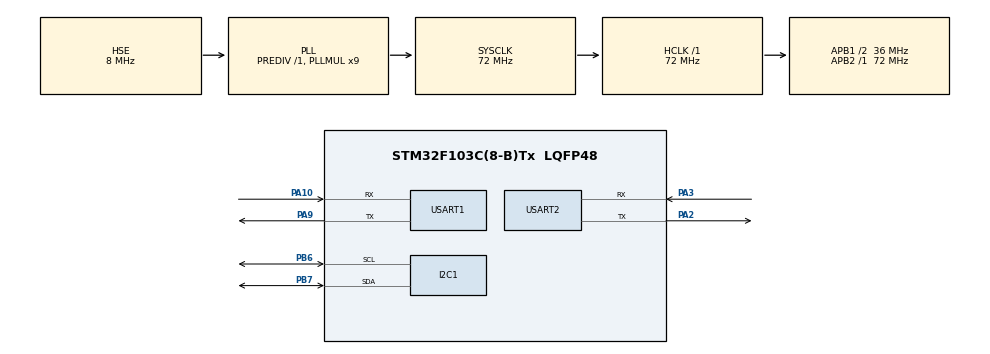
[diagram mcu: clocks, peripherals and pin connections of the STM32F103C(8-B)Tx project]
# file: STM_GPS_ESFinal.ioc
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Mcu.Family=STM32F1
Mcu.Name=STM32F103C(8-B)Tx
Mcu.Package=LQFP48
NVIC.PVD_IRQn=true\:0\:0\:false\:false\:true\:true\:true\:true
NVIC.PriorityGroup=NVIC_PRIORITYGROUP_4
NVIC.USART1_IRQn=true\:0\:0\:true\:false\:true\:true\:true\:true
PA10.Mode=Asynchronous
PA10.Signal=USART1_RX
PA13.Mode=Serial_Wire
PA13.Signal=SYS_JTMS-SWDIO
PA14.Mode=Serial_Wire
PA14.Signal=SYS_JTCK-SWCLK
PA2.Mode=Asynchronous
PA2.Signal=USART2_TX
PA3.Mode=Asynchronous
PA3.Signal=USART2_RX
PA9.Mode=Asynchronous
PA9.Signal=USART1_TX
PB6.Mode=I2C
PB6.Signal=I2C1_SCL
PB7.Mode=I2C
PB7.Signal=I2C1_SDA
PD0-OSC_IN.Mode=HSE-External-Oscillator
PD0-OSC_IN.Signal=RCC_OSC_IN
PD1-OSC_OUT.Mode=HSE-External-Oscillator
PD1-OSC_OUT.Signal=RCC_OSC_OUT
ProjectManager.HeapSize=0x200
ProjectManager.StackSize=0x400
ProjectManager.TargetToolchain=STM32CubeIDE
RCC.AHBFreq_Value=72000000
RCC.APB1CLKDivider=RCC_HCLK_DIV2
RCC.APB1Freq_Value=36000000
RCC.APB1TimFreq_Value=72000000
RCC.APB2Freq_Value=72000000
RCC.APB2TimFreq_Value=72000000
RCC.HCLKFreq_Value=72000000
RCC.PLLMUL=RCC_PLL_MUL9
RCC.PLLSourceVirtual=RCC_PLLSOURCE_HSE
RCC.SYSCLKFreq_VALUE=72000000
RCC.SYSCLKSource=RCC_SYSCLKSOURCE_PLLCLK
RCC.USBFreq_Value=72000000
USART1.VirtualMode=VM_ASYNC
USART2.VirtualMode=VM_ASYNC
board=custom

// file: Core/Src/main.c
/* USER CODE BEGIN Header */
/**
  ******************************************************************************
  * @file           : main.c
  * @brief          : Main program body
  ******************************************************************************
  * @attention
  *
  * Copyright (c) 2024 STMicroelectronics.
  * All rights reserved.
  *
  * This software is licensed under terms that can be found in the LICENSE file
  * in the root directory of this software component.
  * If no LICENSE file comes with this software, it is provided AS-IS.
  *
  ******************************************************************************
  */
/* USER CODE END Header */
#include "main.h"

/* USER CODE BEGIN Includes */
#include "uartRingBuffer.h"
#include "NMEA.h"
#include "i2c-lcd.h"
#include "stdio.h"
#include "string.h"
/* USER CODE END Includes */

I2C_HandleTypeDef hi2c1;

UART_HandleTypeDef huart1;
UART_HandleTypeDef huart2;

/* USER CODE BEGIN PV */
char latitude[12] = {0};
char longitude[12]= {0};
char GPShour[6] = {0};
char GPSmin[6] = {0};
//char GPSmin[3] = {0};
//char GPSmonth[3] = {0};
//char GPSdate[8]  ;
//char* messages[60] = {latitude, longitude};
//int numMessages = sizeof(messages) / sizeof(messages[0]);
char buffer[60] = {0};
float flat = 0.0;
float flon = 0.0;
char rx[50];
/* USER CODE END PV */

void SystemClock_Config(void);
static void MX_GPIO_Init(void);
static void MX_USART1_UART_Init(void);
static void MX_I2C1_Init(void);
static void MX_USART2_UART_Init(void);

/* USER CODE BEGIN 0 */

char GGA[100];
char RMC[100];

GPSSTRUCT gpsData;
int flagGGA = 0, flagRMC = 0;
char lcdBuffer [50];

int VCCTimeout = 5000; //

/* USER CODE END 0 */

int main(void)
{

  /* MCU Configuration--------------------------------------------------------*/

  /* Reset of all peripherals, Initializes the Flash interface and the Systick. */
  HAL_Init();

  /* Configure the system clock */
  SystemClock_Config();

  /* Initialize all configured peripherals */
  MX_GPIO_Init();
  MX_USART1_UART_Init();
  MX_I2C1_Init();
  MX_USART2_UART_Init();
  /* USER CODE BEGIN 2 */
  lcd_init();
  Ringbuf_init();
  HAL_Delay(500);
  /* USER CODE END 2 */

  /* Infinite loop */
  while (1)
  {

    /* USER CODE BEGIN 3 */

	  if (Wait_for("GGA") == 1)
	  {

		  VCCTimeout = 5000;  // Reset the VCC Timeout indicating the GGA is being received

		  Copy_upto("*", GGA);
		  if (decodeGGA(GGA, &gpsData.ggastruct) == 0) flagGGA = 2;  // 2 indicates the data is valid
		  else flagGGA = 1;  // 1 indicates the data is invalid

	  }

	  if (Wait_for("RMC") == 1)
	  {

		  VCCTimeout = 5000;  // Reset the VCC Timeout indicating the RMC is being received

		  Copy_upto("*", RMC);
		  if (decodeRMC(RMC, &gpsData.rmcstruct) == 0) flagRMC = 2;  // 2 indicates the data is valid
		  else flagRMC = 1;  // 1 indicates the data is invalid

	  }

	  if ((flagGGA == 2) | (flagRMC == 2))
	  {
		  lcd_put_cur(0, 0);
		  sprintf (lcdBuffer, "%.2f%c, %.2f%c  ", gpsData.ggastruct.lcation.latitude, gpsData.ggastruct.lcation.NS,\
		  				  gpsData.ggastruct.lcation.longitude, gpsData.ggastruct.lcation.EW);
		  lcd_send_string(lcdBuffer);

		  memset(lcdBuffer, '\0', 50);
		  lcd_put_cur(1, 0);
		  sprintf (lcdBuffer, "%02d:%02d:%02d, %02d%02d%02d", gpsData.ggastruct.tim.hour, \
		  				  gpsData.ggastruct.tim.min, gpsData.ggastruct.tim.sec, gpsData.rmcstruct.date.Day, \
		  				  gpsData.rmcstruct.date.Mon, gpsData.rmcstruct.date.Yr);
		  lcd_send_string(lcdBuffer);
	  }

	  else if ((flagGGA == 1) | (flagRMC == 1))
	  {
		  // Instead of clearing the display, it's better if we print spaces.
		  // This will avoid the "refreshing" part
		  lcd_put_cur(0, 0);
		  lcd_send_string("   NO FIX YET   ");
		  lcd_put_cur(1, 0);
		  lcd_send_string("   Please wait  ");
	  }

	  if (VCCTimeout <= 0)
	  {
		  VCCTimeout = 5000;  // Reset the timeout

		  //reset flags
		  flagGGA =flagRMC =0;

		  // You are here means the VCC is less, or maybe there is some connection issue
		  // Check the VCC, also you can try connecting to the external 5V

		  lcd_put_cur(0, 0);
		  lcd_send_string("    VCC Issue   ");
		  lcd_put_cur(1, 0);
		  lcd_send_string("Check Connection");
	  }

 // 	 uart stm32 and esp32
//	  	sprintf(latitude,"%f",gpsData.ggastruct.lcation.latitude);
//	  	sprintf(longitude,"%f",gpsData.ggastruct.lcation.longitude);
//	  	printf("\n");
//
//
//	  	strcpy(buffer, "");  // Clear buffer
//		for (int i = 0; i < numMessages; i++) {
//			strcat(buffer, messages[i]);  // Concatenate current message
//			if (i < numMessages - 1) {
//				strcat(buffer, " ");  // Add space between words, if not the last word
//			}
//		}
//		HAL_UART_Transmit(&huart1, (char*)buffer, sizeof(buffer), 1000);  // Transmit the concatenated string
//
	  	  char flat_str[20];
	  	  char flon_str[20];
	  	  sprintf(flat_str, "%f", gpsData.ggastruct.lcation.latitude);
	  	  sprintf(flon_str, "%f", gpsData.ggastruct.lcation.longitude);
	  	  strcpy(rx, flat_str);
	  	  strcat(rx, " ");
	  	  strcat(rx, flon_str);
	  	  HAL_UART_Transmit(&huart2, (uint8_t*)rx, strlen(rx), 1000);
	  	  //cnt++;
	  	  //HAL_Delay(1500);
	  	//HAL_UART_Receive_IT(&huart1, buffer, 60);

  }
  /* USER CODE END 3 */
}

void SystemClock_Config(void)
{
  RCC_OscInitTypeDef RCC_OscInitStruct = {0};
  RCC_ClkInitTypeDef RCC_ClkInitStruct = {0};

  /** Initializes the RCC Oscillators according to the specified parameters
  * in the RCC_OscInitTypeDef structure.
  */
  RCC_OscInitStruct.OscillatorType = RCC_OSCILLATORTYPE_HSE;
  RCC_OscInitStruct.HSEState = RCC_HSE_ON;
  RCC_OscInitStruct.HSEPredivValue = RCC_HSE_PREDIV_DIV1;
  RCC_OscInitStruct.HSIState = RCC_HSI_ON;
  RCC_OscInitStruct.PLL.PLLState = RCC_PLL_ON;
  RCC_OscInitStruct.PLL.PLLSource = RCC_PLLSOURCE_HSE;
  RCC_OscInitStruct.PLL.PLLMUL = RCC_PLL_MUL9;
  if (HAL_RCC_OscConfig(&RCC_OscInitStruct) != HAL_OK)
  {
    Error_Handler();
  }

  /** Initializes the CPU, AHB and APB buses clocks
  */
  RCC_ClkInitStruct.ClockType = RCC_CLOCKTYPE_HCLK|RCC_CLOCKTYPE_SYSCLK
                              |RCC_CLOCKTYPE_PCLK1|RCC_CLOCKTYPE_PCLK2;
  RCC_ClkInitStruct.SYSCLKSource = RCC_SYSCLKSOURCE_PLLCLK;
  RCC_ClkInitStruct.AHBCLKDivider = RCC_SYSCLK_DIV1;
  RCC_ClkInitStruct.APB1CLKDivider = RCC_HCLK_DIV2;
  RCC_ClkInitStruct.APB2CLKDivider = RCC_HCLK_DIV1;

  if (HAL_RCC_ClockConfig(&RCC_ClkInitStruct, FLASH_LATENCY_2) != HAL_OK)
  {
    Error_Handler();
  }
}

static void MX_I2C1_Init(void)
{

  hi2c1.Instance = I2C1;
  hi2c1.Init.ClockSpeed = 100000;
  hi2c1.Init.DutyCycle = I2C_DUTYCYCLE_2;
  hi2c1.Init.OwnAddress1 = 0;
  hi2c1.Init.AddressingMode = I2C_ADDRESSINGMODE_7BIT;
  hi2c1.Init.DualAddressMode = I2C_DUALADDRESS_DISABLE;
  hi2c1.Init.OwnAddress2 = 0;
  hi2c1.Init.GeneralCallMode = I2C_GENERALCALL_DISABLE;
  hi2c1.Init.NoStretchMode = I2C_NOSTRETCH_DISABLE;
  if (HAL_I2C_Init(&hi2c1) != HAL_OK)
  {
    Error_Handler();
  }

}

static void MX_USART1_UART_Init(void)
{

  huart1.Instance = USART1;
  huart1.Init.BaudRate = 115200;
  huart1.Init.WordLength = UART_WORDLENGTH_8B;
  huart1.Init.StopBits = UART_STOPBITS_1;
  huart1.Init.Parity = UART_PARITY_NONE;
  huart1.Init.Mode = UART_MODE_TX_RX;
  huart1.Init.HwFlowCtl = UART_HWCONTROL_NONE;
  huart1.Init.OverSampling = UART_OVERSAMPLING_16;
  if (HAL_UART_Init(&huart1) != HAL_OK)
  {
    Error_Handler();
  }

}

static void MX_USART2_UART_Init(void)
{

  huart2.Instance = USART2;
  huart2.Init.BaudRate = 115200;
  huart2.Init.WordLength = UART_WORDLENGTH_8B;
  huart2.Init.StopBits = UART_STOPBITS_1;
  huart2.Init.Parity = UART_PARITY_NONE;
  huart2.Init.Mode = UART_MODE_TX_RX;
  huart2.Init.HwFlowCtl = UART_HWCONTROL_NONE;
  huart2.Init.OverSampling = UART_OVERSAMPLING_16;
  if (HAL_UART_Init(&huart2) != HAL_OK)
  {
    Error_Handler();
  }

}

static void MX_GPIO_Init(void)
{

  /* GPIO Ports Clock Enable */
  __HAL_RCC_GPIOD_CLK_ENABLE();
  __HAL_RCC_GPIOA_CLK_ENABLE();
  __HAL_RCC_GPIOB_CLK_ENABLE();

}

void Error_Handler(void)
{
  __disable_irq();
  while (1)
  {
  }
}
